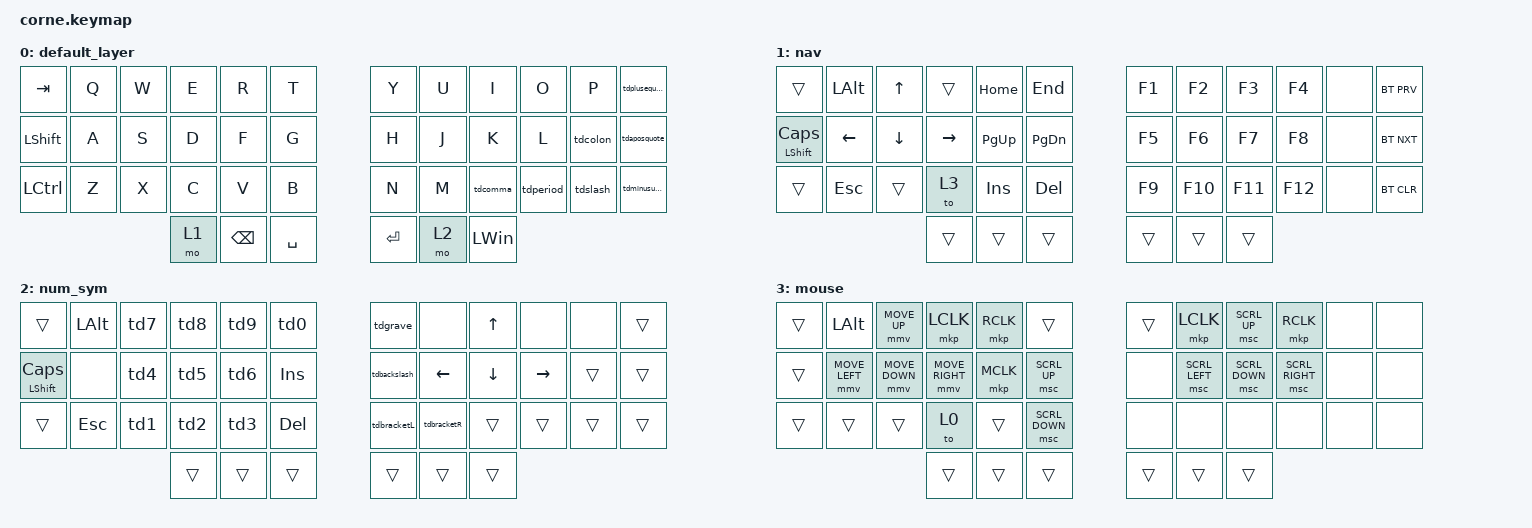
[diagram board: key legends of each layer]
/*
 * Copyright (c) 2020 The ZMK Contributors
 *
 * SPDX-License-Identifier: MIT
 */

#include <dt-bindings/zmk/mouse.h>
#include <behaviors.dtsi>
#include <dt-bindings/zmk/bt.h>
#include <dt-bindings/zmk/keys.h>
#include <dt-bindings/zmk/pointing.h>

#define ZMK_MOUSE_DEFAULT_MOVE_VAL 2000  // 600
#define ZMK_MOUSE_DEFAULT_SCRL_VAL 200    // 10

&mmv {
    acceleration-exponent = <1>;      // 1
    time-to-max-speed-ms = <250>;     // 300
    delay-ms = <0>;                   // 0
};

&mt {
    flavor = "balanced";
    tapping-term-ms = <200>;
};

&msc {
    acceleration-exponent = <1>;      // 0
    time-to-max-speed-ms = <400>;      // 300
    delay-ms = <0>;                   // 0
};

&mt { tapping-term-ms = <200>; };

/ {
    behaviors {
        td1: td1 {
            compatible = "zmk,behavior-tap-dance";
            label = "TD1";
            #binding-cells = <0>;
            tapping-term-ms = <200>;
            bindings = <&kp N1>, <&kp EXCL>;
        };

        td2: td2 {
            compatible = "zmk,behavior-tap-dance";
            label = "TD2";
            #binding-cells = <0>;
            tapping-term-ms = <150>;
            bindings = <&kp N2>, <&kp AT>;
        };

        td3: td3 {
            compatible = "zmk,behavior-tap-dance";
            label = "TD3";
            #binding-cells = <0>;
            tapping-term-ms = <150>;
            bindings = <&kp NUMBER_3>, <&kp HASH>;
        };

        td4: td4 {
            compatible = "zmk,behavior-tap-dance";
            label = "TD4";
            #binding-cells = <0>;
            tapping-term-ms = <150>;
            bindings = <&kp NUMBER_4>, <&kp DOLLAR>;
        };

        td5: td5 {
            compatible = "zmk,behavior-tap-dance";
            label = "TD5";
            #binding-cells = <0>;
            tapping-term-ms = <150>;
            bindings = <&kp N5>, <&kp PERCENT>;
        };

        td6: td6 {
            compatible = "zmk,behavior-tap-dance";
            label = "TD6";
            #binding-cells = <0>;
            tapping-term-ms = <150>;
            bindings = <&kp NUMBER_6>, <&kp CARET>;
        };

        td7: td7 {
            compatible = "zmk,behavior-tap-dance";
            label = "TD7";
            #binding-cells = <0>;
            tapping-term-ms = <150>;
            bindings = <&kp N7>, <&kp AMPERSAND>;
        };

        td8: td8 {
            compatible = "zmk,behavior-tap-dance";
            label = "TD8";
            #binding-cells = <0>;
            tapping-term-ms = <150>;
            bindings = <&kp N8>, <&kp ASTRK>;
        };

        td9: td9 {
            compatible = "zmk,behavior-tap-dance";
            label = "TD9";
            #binding-cells = <0>;
            tapping-term-ms = <150>;
            bindings = <&kp N9>, <&kp LEFT_PARENTHESIS>;
        };

        td0: td0 {
            compatible = "zmk,behavior-tap-dance";
            label = "TD0";
            #binding-cells = <0>;
            tapping-term-ms = <150>;
            bindings = <&kp N0>, <&kp RIGHT_PARENTHESIS>;
        };

        tdperiod: tdperiod {
            compatible = "zmk,behavior-tap-dance";
            label = "TDPERIOD";
            #binding-cells = <0>;
            tapping-term-ms = <150>;
            bindings = <&kp PERIOD>, <&kp GREATER_THAN>;
        };

        tdslash: tdslash {
            compatible = "zmk,behavior-tap-dance";
            label = "TDSLASH";
            #binding-cells = <0>;
            tapping-term-ms = <150>;
            bindings = <&kp SLASH>, <&kp QUESTION>;
        };

        tdcomma: tdcomma {
            compatible = "zmk,behavior-tap-dance";
            label = "TDCOMMA";
            #binding-cells = <0>;
            tapping-term-ms = <150>;
            bindings = <&kp COMMA>, <&kp LESS_THAN>;
        };

        tdplusequals: tdplusequals {
            compatible = "zmk,behavior-tap-dance";
            label = "TDPLUSEQUALS";
            #binding-cells = <0>;
            tapping-term-ms = <150>;
            bindings = <&kp EQUAL>, <&kp PLUS>;
        };

        tdminusunderscore: tdminusunderscore {
            compatible = "zmk,behavior-tap-dance";
            label = "TDMINUSUNDERSCORE";
            #binding-cells = <0>;
            tapping-term-ms = <150>;
            bindings = <&kp MINUS>, <&kp UNDER>;
        };

        tdaposquote: tdaposquote {
            compatible = "zmk,behavior-tap-dance";
            label = "TDAPOSQUOTE";
            #binding-cells = <0>;
            tapping-term-ms = <150>;
            bindings = <&kp APOS>, <&kp DOUBLE_QUOTES>;
        };

        tdcolon: tdcolon {
            compatible = "zmk,behavior-tap-dance";
            label = "TDCOLON";
            #binding-cells = <0>;
            tapping-term-ms = <150>;
            bindings = <&kp SEMI>, <&kp COLON>;
        };

        tdbracketL: tdbracketL {
            compatible = "zmk,behavior-tap-dance";
            label = "TDBRACKETL";
            #binding-cells = <0>;
            tapping-term-ms = <150>;
            bindings = <&kp LEFT_BRACKET>, <&kp LEFT_BRACE>;
        };

        tdbracketR: tdbracketR {
            compatible = "zmk,behavior-tap-dance";
            label = "TDBRACKETR";
            #binding-cells = <0>;
            tapping-term-ms = <150>;
            bindings = <&kp RIGHT_BRACKET>, <&kp RIGHT_BRACE>;
        };

        tdbackslash: tdbackslash {
            compatible = "zmk,behavior-tap-dance";
            label = "TDBACKSLASH";
            #binding-cells = <0>;
            tapping-term-ms = <150>;
            bindings = <&kp BACKSLASH>, <&kp PIPE>;
        };

        tdgrave: tdgrave {
            compatible = "zmk,behavior-tap-dance";
            label = "TDGRAVE";
            #binding-cells = <0>;
            tapping-term-ms = <150>;
            bindings = <&kp GRAVE>, <&kp TILDE>;
        };

        layerTapHold: layerTapHold {
            compatible = "zmk,behavior-hold-tap";
            label = "LAYERTAPHOLD";
            bindings = <&mo>, <&tog>;

            #binding-cells = <2>;
            tapping-term-ms = <200>;
            hold-trigger-key-positions = <36>;
        };
    };

    combos { compatible = "zmk,combos"; };

    keymap {
        compatible = "zmk,keymap";

        default_layer {
            bindings = <
&kp TAB           &kp Q  &kp W  &kp E  &kp R          &kp T        &kp Y    &kp U  &kp I         &kp O      &kp P     &tdplusequals
&kp LEFT_SHIFT    &kp A  &kp S  &kp D  &kp F          &kp G        &kp H    &kp J  &kp K         &kp L      &tdcolon  &tdaposquote
&kp LEFT_CONTROL  &kp Z  &kp X  &kp C  &kp V          &kp B        &kp N    &kp M  &tdcomma      &tdperiod  &tdslash  &tdminusunderscore
                                &mo 1  &kp BACKSPACE  &kp SPACE    &kp RET  &mo 2  &kp LEFT_WIN
            >;
        };

        nav {
            bindings = <
&trans                   &kp LEFT_ALT  &kp UP    &trans     &kp HOME   &kp END       &kp F1  &kp F2   &kp F3   &kp F4   &none  &bt BT_PRV
&mt LEFT_SHIFT CAPSLOCK  &kp LEFT      &kp DOWN  &kp RIGHT  &kp PG_UP  &kp PG_DN     &kp F5  &kp F6   &kp F7   &kp F8   &none  &bt BT_NXT
&trans                   &kp ESC       &trans    &to 3      &kp INS    &kp DELETE    &kp F9  &kp F10  &kp F11  &kp F12  &none  &bt BT_CLR
                                                 &trans     &trans     &trans        &trans  &trans   &trans
            >;
        };

        num_sym {
            bindings = <
&trans               &kp LEFT_ALT  &td7  &td8    &td9    &td0          &tdgrave      &none           &kp UP_ARROW    &none            &none   &trans
&mt LEFT_SHIFT CAPS  &none         &td4  &td5    &td6    &kp INSERT    &tdbackslash  &kp LEFT_ARROW  &kp DOWN_ARROW  &kp RIGHT_ARROW  &trans  &trans
&trans               &kp ESC       &td1  &td2    &td3    &kp DEL       &tdbracketL   &tdbracketR     &trans          &trans           &trans  &trans
                                         &trans  &trans  &trans        &trans        &trans          &trans
            >;
        };

        mouse {
            bindings = <
&trans  &kp LEFT_ALT    &mmv MOVE_UP    &mkp LCLK        &mkp RCLK  &trans            &trans  &mkp LCLK       &msc SCRL_UP    &mkp RCLK        &none  &none
&trans  &mmv MOVE_LEFT  &mmv MOVE_DOWN  &mmv MOVE_RIGHT  &mkp MCLK  &msc SCRL_UP      &none   &msc SCRL_LEFT  &msc SCRL_DOWN  &msc SCRL_RIGHT  &none  &none
&trans  &trans          &trans          &to 0            &trans     &msc SCRL_DOWN    &none   &none           &none           &none            &none  &none
                                        &trans           &trans     &trans            &trans  &trans          &trans
            >;
        };
    };
};
